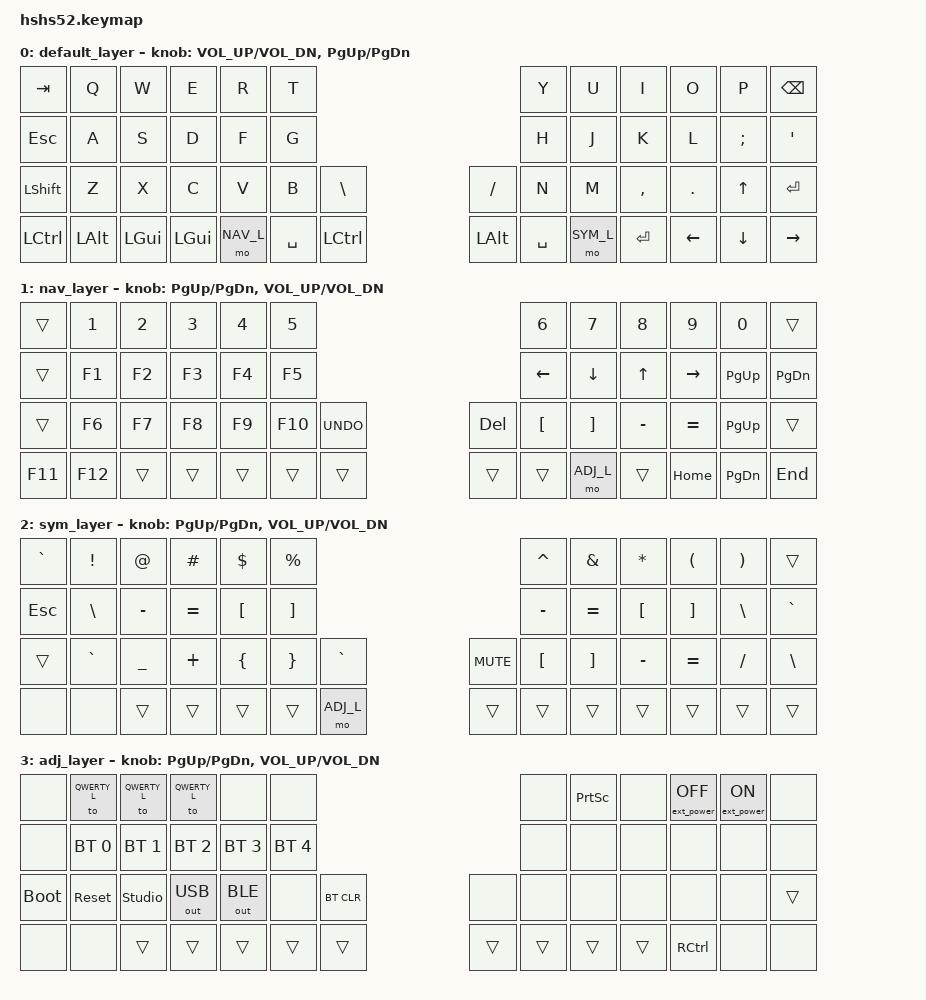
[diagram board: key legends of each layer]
/*
 * Copyright (c) 2021-2022 The ZMK Contributors
 *
 * SPDX-License-Identifier: MIT
 */

#include <behaviors.dtsi>
#include <dt-bindings/zmk/bt.h>
#include <dt-bindings/zmk/ext_power.h>
#include <dt-bindings/zmk/keys.h>
#include <dt-bindings/zmk/outputs.h>

#define QWERTY_L 0
#define NAV_L    1
#define SYM_L    2
#define ADJ_L    3

#define Undo   LC(Z)
#define Cut    LC(X)
#define Copy   LC(C)
#define Paste  LC(V)
#define Redo   LC(Y)


/ {
        keymap {
                compatible = "zmk,keymap";

                default_layer {
/* QWERTY
 * -------------------------------------------------------------------------------------------------------------------------------------
 * | TAB   |   Q   |   W   |   E   |   R   |   T   |-----------------------------------|   Y   |   U   |   I   |   O   |   P   | BKSPC |
 * | ESC   |   A   |   S   |   D   |   F   |   G   |-----------------------------------|   H   |   J   |   K   |   L   |   ;   | ENTER |
 * | SHIFT |   Z   |   X   |   C   |   V   |   B   |   '   |-------------------|   /   |   N   |   M   |   ,   |   .   |  Up   | SHIFT |
 * | CTRL  |  ESC  | CTRL  |-------|  GUI  |  ALT  |  SHFT | CTRL  |---|  Sym  | SPACE |  ALT  |  GUI  |-------| Left  | Down  | Right |
 */
                        bindings = <
&kp  TAB     &kp  Q        &kp  W        &kp  E      &kp  R        &kp  T                                                                         &kp  Y        &kp  U        &kp  I        &kp  O        &kp  P        &kp  BSPC
&kp  ESC     &kp  A        &kp  S        &kp  D      &kp  F        &kp  G                                                                         &kp  H        &kp  J        &kp  K        &kp  L        &kp  SEMI     &kp  SQT
&kp  LSHFT   &kp  Z        &kp  X        &kp  C      &kp  V        &kp  B        &kp  BSLH                                          &kp  SLASH    &kp  N        &kp  M        &kp  COMMA    &kp  DOT      &kp  UP       &kp  ENTER
&kp  LCTRL   &kp  LALT     &kp  LGUI                 &kp  LGUI     &mo  NAV_L    &kp  SPACE      &kp  LCTRL            &kp LALT     &kp  SPACE    &mo  SYM_L    &kp  ENTER                  &kp  LEFT     &kp  DOWN     &kp  RIGHT
                        >;
			
                        sensor-bindings = <&inc_dec_kp C_VOL_UP C_VOL_DN &inc_dec_kp PG_UP PG_DN>;
                };

                nav_layer {
/* NAV
 * -------------------------------------------------------------------------------------------------------------------------------------
 * | Copy  |   1   |   2   |   3   |   4   |   5   |-----------------------------------|   6   |   7   |   8   |   9   |   0   | BSPC  |
 * | Cut   |  GUI  |  Alt  | Ctrl  | Shift | Paste |-----------------------------------| PG UP |  Left |  Up   |  Down | Right | PG DN |
 * | Shift |  F1   |  F2   |  F3   |  F4   |  F5   |  UnDo |-------------------| ReDo  |  [    |  ]    |  -    |  =   |  F10  | Shift |
 * | F11   |  F12  |       |-------|       |       |       |       |---| ADJ_L |       |       |       |-------| CTRL  | HOME  |  END  |
 */
                        bindings = <
&trans        &kp  N1       &kp  N2       &kp  N3       &kp  N4       &kp  N5                                                                        &kp   N6      &kp  N7      &kp   N8      &kp   N9      &kp  N0       &trans
&trans        &kp  F1       &kp  F2       &kp  F3       &kp  F4       &kp  F5                                                                        &kp   LEFT    &kp  DOWN    &kp   UP      &kp   RIGHT   &kp  PG_UP    &kp PG_DN
&trans        &kp  F6       &kp  F7       &kp  F8       &kp  F9       &kp  F10      &kp UNDO                                           &kp  DEL      &kp   LBKT    &kp  RBKT    &kp   MINUS   &kp   EQUAL   &kp  PG_UP    &trans
&kp  F11      &kp  F12      &trans                      &trans        &trans        &trans        &trans                 &trans        &trans        &mo   ADJ_L   &trans                     &kp   HOME    &kp  PG_DN    &kp  END
                        >;
			
                        sensor-bindings = <&inc_dec_kp PG_UP PG_DN &inc_dec_kp C_VOL_UP C_VOL_DN>;
                };

                sym_layer {
/* SYM
 * -------------------------------------------------------------------------------------------------------------------------------------
 * | INS   |   !   |   @   |   #   |   $   |   %   |-----------------------------------|   ^   |   &   |   *   |   (   |   )   | DELETE|
 * | ESC   |   \   |   -   |   =   |   [   |   ]   |-----------------------------------| -     |  =    | Ctrl  |  Alt   | Gui   | '     |
 * | Shift |   |   |   _   |   +   |   {   |   }   | Play  |-------------------| Mute  | [     |  ]    |  {    |   }   |       | ENTER |
 * |       |       |       |-------|       |       |       |  ADJ_L |---|      |       |       |       |-------| CTRL  | MENU  |SkAltGr|
 */
                        bindings = <
&kp  GRAVE    &kp  EXCL     &kp  AT       &kp  HASH     &kp  DOLLAR   &kp  PERCENT                                                                   &kp CARET     &kp  AMPS     &kp  ASTRK    &kp  LPAR     &kp  RPAR     &trans
&kp  ESC      &kp  BSLH     &kp  MINUS    &kp  EQUAL    &kp  LBKT     &kp  RBKT                                                                      &kp MINUS     &kp  EQUAL    &kp  LBKT     &kp  RBKT     &kp  BSLH     &kp  GRAVE
&trans        &kp  GRAVE    &kp  UNDER    &kp  PLUS     &kp  LBRC     &kp  RBRC     &kp  GRAVE                                         &kp C_MUTE    &kp LBKT      &kp  RBKT     &kp  MINUS    &kp  EQUAL    &kp  SLASH    &kp  BSLH
&none         &none         &trans                      &trans        &trans        &trans        &mo  ADJ_L               &trans      &trans        &trans        &trans                      &trans        &trans        &trans
                        >;
			
                        sensor-bindings = <&inc_dec_kp PG_UP PG_DN &inc_dec_kp C_VOL_UP C_VOL_DN>;
                };
		

                adj_layer {
/* ADJUST
 * -------------------------------------------------------------------------------------------------------------------------------------
 * |       | QWERTY| DVORAK| COLEMK|       |       |-----------------------------------|       |Prt Scr|       | EP_OFF| EP_ON |       |
 * |       | BT 0  | BT 1  | BT 2  | BT 3  | BT 4  |-----------------------------------|       |       |       |       |       |       |
 * | BOOTL | RESET | STUDIO|OUT_USB|OUT_BLE|       |BT CLR |-------------------|       |       |       |       |       |       | SHIFT |
 * ----------------|       |-------|       |       |       |       |---|       |       |       |       |-------| CTRL  |----------------
 */
                        bindings = <
&none         &to  QWERTY_L &to  QWERTY_L &to  QWERTY_L &none         &none                                                                             &none             &kp PRINTSCREEN    &none         &ext_power EP_OFF  &ext_power EP_ON &none
&none         &bt  BT_SEL 0 &bt  BT_SEL 1 &bt  BT_SEL 2 &bt  BT_SEL 3 &bt  BT_SEL 4                                                                     &none             &none              &none            &none           &none            &none
&bootloader   &sys_reset        &studio_unlock 	&out OUT_USB  &out OUT_BLE  &none         &bt BT_CLR                                         &none            &none             &none              &none            &none           &none            &trans
&none         &none         &trans                      &trans        &trans        &trans        &trans                 &trans        &trans           &trans            &trans                              &kp  RCTRL      &none            &none
                        >;

                        sensor-bindings = <&inc_dec_kp PG_UP PG_DN &inc_dec_kp C_VOL_UP C_VOL_DN>;
                };
        };
};
